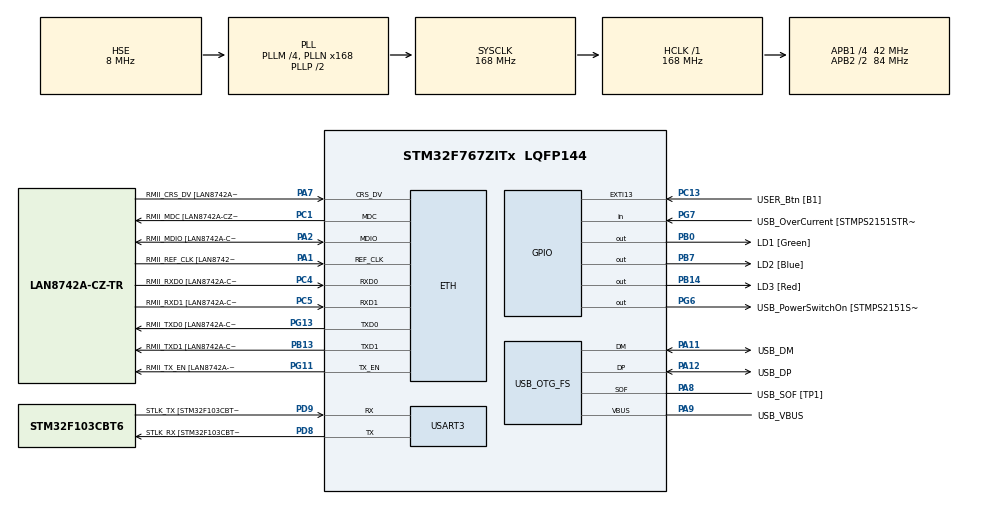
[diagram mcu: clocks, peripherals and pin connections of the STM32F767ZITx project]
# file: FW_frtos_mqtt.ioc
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Mcu.Family=STM32F7
VP_SYS_VS_tim6.Mode=TIM6
RCC.CortexFreq_Value=168000000
PG6.Signal=GPIO_Output
NVIC.TIM6_DAC_IRQn=true\:0\:0\:false\:false\:true\:false\:false\:true
PB14.GPIO_Label=LD3 [Red]
PA14.GPIO_Label=TCK
PG6.GPIO_Label=USB_PowerSwitchOn [STMPS2151STR_EN]
RCC.SYSCLKSourceVirtual=RCC_SYSCLKSOURCE_PLLCLK
PA11.Mode=Device_Only
PB0.GPIO_Label=LD1 [Green]
PC14/OSC32_IN.Mode=LSE-External-Oscillator
PC5.Mode=RMII
PC13.GPIO_Label=USER_Btn [B1]
PB13.GPIO_Label=RMII_TXD1 [LAN8742A-CZ-TR_TXD1]
PB13.Signal=ETH_TXD1
PG13.Signal=ETH_TXD0
PD9.Mode=Asynchronous
PG11.Signal=ETH_TX_EN
RCC.SYSCLKSource=RCC_SYSCLKSOURCE_PLLCLK
ProjectManager.StackSize=0x400
USART3.VirtualMode-Asynchronous=VM_ASYNC
FREERTOS.configENABLE_FPU=1
PA12.Signal=USB_OTG_FS_DP
ETH.PHY_Value=0
PH0/OSC_IN.Mode=HSE-External-Clock-Source
RCC.HCLKFreq_Value=168000000
RCC.APB2TimFreq_Value=168000000
PH1/OSC_OUT.Signal=RCC_OSC_OUT
PD8.Signal=USART3_TX
FREERTOS.configMINIMAL_STACK_SIZE=512
RCC.AHBFreq_Value=168000000
NVIC.ETH_IRQn=true\:5\:0\:false\:false\:true\:true\:false\:true
RCC.HSE_VALUE=8000000
PB3.Mode=Trace_Asynchronous_SW
RCC.PLLMUL=RCC_PLL_MUL9
PC4.GPIO_Label=RMII_RXD0 [LAN8742A-CZ-TR_RXD0]
PA14.Mode=Trace_Asynchronous_SW
PA10.GPIO_Label=USB_ID
LWIP.LWIP_SO_RCVBUF=1
PB7.Signal=GPIO_Output
PA8.Signal=USB_OTG_FS_SOF
PG13.Mode=RMII
ETH.PHY_Name=LAN8742A_PHY_ADDRESS
VP_FREERTOS_VS_CMSIS_V1.Mode=CMSIS_V1
PH1/OSC_OUT.Mode=HSE-External-Clock-Source
FREERTOS.configTOTAL_HEAP_SIZE=32768
PB7.GPIO_Label=LD2 [Blue]
Mcu.Package=LQFP144
NVIC.TimeBase=TIM6_DAC_IRQn
PC14/OSC32_IN.Signal=RCC_OSC32_IN
PA2.GPIO_Label=RMII_MDIO [LAN8742A-CZ-TR_MDIO]
NVIC.TimeBaseIP=TIM6
PA10.Signal=USB_OTG_FS_ID
USB_OTG_FS.VirtualMode=Device_Only
RCC.APB2CLKDivider=RCC_HCLK_DIV2
RCC.APB1TimFreq_Value=84000000
PG11.GPIO_Label=RMII_TX_EN [LAN8742A-CZ-TR_TXEN]
PC5.Signal=ETH_RXD1
PB13.Mode=RMII
PC4.Mode=RMII
PB3.GPIO_Label=SWO
FREERTOS.Tasks01=defaultTask,0,512,StartDefaultTask,Default,NULL,Dynamic,NULL,NULL
PA7.Mode=RMII
PG7.Signal=GPIO_Input
PD9.GPIO_Label=STLK_TX [STM32F103CBT6_PA2]
PC13.Signal=GPXTI13
PA9.GPIO_Label=USB_VBUS
FREERTOS.configCHECK_FOR_STACK_OVERFLOW=2
PC4.Signal=ETH_RXD0
PA11.GPIO_Label=USB_DM
PD9.Signal=USART3_RX
RCC.APB1CLKDivider=RCC_HCLK_DIV4
PG13.GPIO_Label=RMII_TXD0 [LAN8742A-CZ-TR_TXD0]
ETH.PhyAddress=0
PA12.GPIO_Label=USB_DP
VP_LWIP_VS_Enabled.Mode=Enabled
PD8.GPIO_Label=STLK_RX [STM32F103CBT6_PA3]
PA13.Signal=SYS_JTMS-SWDIO
PA9.Mode=Activate_VBUS
PA8.GPIO_Label=USB_SOF [TP1]
ProjectManager.TargetToolchain=STM32CubeIDE
PA9.Signal=USB_OTG_FS_VBUS
RCC.USBFreq_Value=48000000
PD8.Mode=Asynchronous
PA1.Signal=ETH_REF_CLK
PB14.Signal=GPIO_Output
board=NUCLEO-F767ZI
RCC.VCOOutputFreq_Value=336000000
PH0/OSC_IN.Signal=RCC_OSC_IN
RCC.APB2Freq_Value=84000000
PA1.Mode=RMII
RCC.PRESCALERUSB=RCC_USBCLKSOURCE_PLL_DIV1_5
PG7.GPIO_Label=USB_OverCurrent [STMPS2151STR_FAULT]
PA1.GPIO_Label=RMII_REF_CLK [LAN8742A-CZ-TR_REFCLK0]
PC1.GPIO_Label=RMII_MDC [LAN8742A-CZ-TR_MDC]
PA13.Mode=Trace_Asynchronous_SW
Mcu.Name=STM32F767ZITx
PA2.Signal=ETH_MDIO
PA13.GPIO_Label=TMS
RCC.48MHZClocksFreq_Value=24000000
PB3.Signal=SYS_JTDO-SWO
RCC.SYSCLKFreq_VALUE=168000000
ETH.MediaInterface=ETH_MEDIA_INTERFACE_RMII
PA7.GPIO_Label=RMII_CRS_DV [LAN8742A-CZ-TR_CRS_DV]
PA12.Mode=Device_Only
PC5.GPIO_Label=RMII_RXD1 [LAN8742A-CZ-TR_RXD1]
PC15/OSC32_OUT.Mode=LSE-External-Oscillator
PG11.Mode=RMII
PA11.Signal=USB_OTG_FS_DM
PA14.Signal=SYS_JTCK-SWCLK
ProjectManager.HeapSize=0x200
LWIP.Version=v2.1.2_Cube
RCC.HSI_VALUE=16000000
PH0/OSC_IN.GPIO_Label=MCO [STM32F103CBT6_PA8]
RCC.PLLQ=7
NVIC.PriorityGroup=NVIC_PRIORITYGROUP_4
RCC.PLLM=4
RCC.PLLN=168
PA2.Mode=RMII
PC15/OSC32_OUT.Signal=RCC_OSC32_OUT
PA8.Mode=Activate_SOF_FS
RCC.APB1Freq_Value=42000000
PB0.Signal=GPIO_Output
PC1.Signal=ETH_MDC
PC1.Mode=RMII
PA7.Signal=ETH_CRS_DV

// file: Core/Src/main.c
/* USER CODE BEGIN Header */
/**
  ******************************************************************************
  * @file           : main.c
  * @brief          : Main program body
  ******************************************************************************
  * @attention
  *
  * <h2><center>&copy; Copyright (c) 2021 STMicroelectronics.
  * All rights reserved.</center></h2>
  *
  * This software component is licensed by ST under BSD 3-Clause license,
  * the "License"; You may not use this file except in compliance with the
  * License. You may obtain a copy of the License at:
  *                        opensource.org/licenses/BSD-3-Clause
  *
  ******************************************************************************
  */
/* USER CODE END Header */
#include "main.h"
#include "cmsis_os.h"
#include "lwip.h"
#include "usart.h"
#include "usb_otg.h"
#include "gpio.h"

/* USER CODE BEGIN PV */
extern uint32_t MilliTimer;
/* USER CODE END PV */

void SystemClock_Config(void);
void MX_FREERTOS_Init(void);

/* USER CODE BEGIN 0 */
int _write(int file, char *ptr, int len)
{
  int DataIdx;

  for (DataIdx = 0; DataIdx < len; DataIdx++)
  {
    ITM_SendChar(*ptr++);
  }
  return len;
}

/* USER CODE END 0 */

int main(void)
{

  /* MCU Configuration--------------------------------------------------------*/

  /* Reset of all peripherals, Initializes the Flash interface and the Systick. */
  HAL_Init();

  /* Configure the system clock */
  SystemClock_Config();

  /* Initialize all configured peripherals */
  MX_GPIO_Init();
  MX_USART3_UART_Init();
  MX_USB_OTG_FS_PCD_Init();
  /* USER CODE BEGIN 2 */
  printf("Don't remove this printf to prevent hard fault.\r\n");

  /* USER CODE END 2 */

  /* Call init function for freertos objects (in freertos.c) */
  MX_FREERTOS_Init();
  /* Start scheduler */
  osKernelStart();

  /* We should never get here as control is now taken by the scheduler */
  /* Infinite loop */
  while (1)
  {

  }
}

void SystemClock_Config(void)
{
  RCC_OscInitTypeDef RCC_OscInitStruct = {0};
  RCC_ClkInitTypeDef RCC_ClkInitStruct = {0};
  RCC_PeriphCLKInitTypeDef PeriphClkInitStruct = {0};

  /** Configure LSE Drive Capability
  */
  HAL_PWR_EnableBkUpAccess();
  /** Configure the main internal regulator output voltage
  */
  __HAL_RCC_PWR_CLK_ENABLE();
  __HAL_PWR_VOLTAGESCALING_CONFIG(PWR_REGULATOR_VOLTAGE_SCALE2);
  /** Initializes the RCC Oscillators according to the specified parameters
  * in the RCC_OscInitTypeDef structure.
  */
  RCC_OscInitStruct.OscillatorType = RCC_OSCILLATORTYPE_HSE;
  RCC_OscInitStruct.HSEState = RCC_HSE_BYPASS;
  RCC_OscInitStruct.PLL.PLLState = RCC_PLL_ON;
  RCC_OscInitStruct.PLL.PLLSource = RCC_PLLSOURCE_HSE;
  RCC_OscInitStruct.PLL.PLLM = 4;
  RCC_OscInitStruct.PLL.PLLN = 168;
  RCC_OscInitStruct.PLL.PLLP = RCC_PLLP_DIV2;
  RCC_OscInitStruct.PLL.PLLQ = 7;
  if (HAL_RCC_OscConfig(&RCC_OscInitStruct) != HAL_OK)
  {
    Error_Handler();
  }
  /** Initializes the CPU, AHB and APB buses clocks
  */
  RCC_ClkInitStruct.ClockType = RCC_CLOCKTYPE_HCLK|RCC_CLOCKTYPE_SYSCLK
                              |RCC_CLOCKTYPE_PCLK1|RCC_CLOCKTYPE_PCLK2;
  RCC_ClkInitStruct.SYSCLKSource = RCC_SYSCLKSOURCE_PLLCLK;
  RCC_ClkInitStruct.AHBCLKDivider = RCC_SYSCLK_DIV1;
  RCC_ClkInitStruct.APB1CLKDivider = RCC_HCLK_DIV4;
  RCC_ClkInitStruct.APB2CLKDivider = RCC_HCLK_DIV2;

  if (HAL_RCC_ClockConfig(&RCC_ClkInitStruct, FLASH_LATENCY_5) != HAL_OK)
  {
    Error_Handler();
  }
  PeriphClkInitStruct.PeriphClockSelection = RCC_PERIPHCLK_USART3|RCC_PERIPHCLK_CLK48;
  PeriphClkInitStruct.Usart3ClockSelection = RCC_USART3CLKSOURCE_PCLK1;
  PeriphClkInitStruct.Clk48ClockSelection = RCC_CLK48SOURCE_PLL;
  if (HAL_RCCEx_PeriphCLKConfig(&PeriphClkInitStruct) != HAL_OK)
  {
    Error_Handler();
  }
}

 /**
  * @brief  Period elapsed callback in non blocking mode
  * @note   This function is called  when TIM6 interrupt took place, inside
  * HAL_TIM_IRQHandler(). It makes a direct call to HAL_IncTick() to increment
  * a global variable "uwTick" used as application time base.
  * @param  htim : TIM handle
  * @retval None
  */
void HAL_TIM_PeriodElapsedCallback(TIM_HandleTypeDef *htim)
{
  if (htim->Instance == TIM6) {
    HAL_IncTick();
  }
  /* USER CODE BEGIN Callback 1 */
  if (htim->Instance == TIM6) {
      MilliTimer++;
    }

  /* USER CODE END Callback 1 */
}

void Error_Handler(void)
{
  __disable_irq();
  while (1)
  {
  }
}

/************************ (C) COPYRIGHT STMicroelectronics *****END OF FILE****/

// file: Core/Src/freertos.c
/* USER CODE BEGIN Header */
/**
  ******************************************************************************
  * File Name          : freertos.c
  * Description        : Code for freertos applications
  ******************************************************************************
  * @attention
  *
  * <h2><center>&copy; Copyright (c) 2021 STMicroelectronics.
  * All rights reserved.</center></h2>
  *
  * This software component is licensed by ST under Ultimate Liberty license
  * SLA0044, the "License"; You may not use this file except in compliance with
  * the License. You may obtain a copy of the License at:
  *                             www.st.com/SLA0044
  *
  ******************************************************************************
  */
/* USER CODE END Header */

#include "FreeRTOS.h"
#include "task.h"
#include "main.h"
#include "cmsis_os.h"

/* USER CODE BEGIN Includes */
#include <string.h>
#include "lwip.h"
#include "lwip/api.h"
#include "MQTTClient.h"
#include "MQTTInterface.h"

/* USER CODE END Includes */

/* USER CODE BEGIN PD */
#define BROKER_IP		"192.168.1.38"
#define MQTT_PORT		1883
#define MQTT_BUFSIZE	1024

/* USER CODE END PD */

/* USER CODE BEGIN Variables */
extern struct netif gnetif; //extern gnetif

osThreadId mqttClientSubTaskHandle;  //mqtt client task handle
osThreadId mqttClientPubTaskHandle;  //mqtt client task handle

Network net; //mqtt network
MQTTClient mqttClient; //mqtt client

uint8_t sndBuffer[MQTT_BUFSIZE]; //mqtt send buffer
uint8_t rcvBuffer[MQTT_BUFSIZE]; //mqtt receive buffer
uint8_t msgBuffer[MQTT_BUFSIZE]; //mqtt message buffer

/* USER CODE END Variables */
osThreadId defaultTaskHandle;

/* USER CODE BEGIN FunctionPrototypes */
void MqttClientSubTask(void const *argument); //mqtt client subscribe task function
void MqttClientPubTask(void const *argument); //mqtt client publish task function
int  MqttConnectBroker(void); 				//mqtt broker connect function
void MqttMessageArrived(MessageData* msg); //mqtt message callback function

/* USER CODE END FunctionPrototypes */

void StartDefaultTask(void const * argument);

extern void MX_LWIP_Init(void);
void MX_FREERTOS_Init(void); /* (MISRA C 2004 rule 8.1) */

/* GetIdleTaskMemory prototype (linked to static allocation support) */
void vApplicationGetIdleTaskMemory( StaticTask_t **ppxIdleTaskTCBBuffer, StackType_t **ppxIdleTaskStackBuffer, uint32_t *pulIdleTaskStackSize );

/* Hook prototypes */
void vApplicationStackOverflowHook(xTaskHandle xTask, signed char *pcTaskName);

/* USER CODE BEGIN 4 */
__weak void vApplicationStackOverflowHook(xTaskHandle xTask, signed char *pcTaskName)
{
   /* Run time stack overflow checking is performed if
   configCHECK_FOR_STACK_OVERFLOW is defined to 1 or 2. This hook function is
   called if a stack overflow is detected. */
	//HAL_GPIO_WritePin(LED_RED_GPIO_Port, LED_RED_Pin, GPIO_PIN_SET);

}
/* USER CODE END 4 */

/* USER CODE BEGIN GET_IDLE_TASK_MEMORY */
static StaticTask_t xIdleTaskTCBBuffer;
static StackType_t xIdleStack[configMINIMAL_STACK_SIZE];

void vApplicationGetIdleTaskMemory( StaticTask_t **ppxIdleTaskTCBBuffer, StackType_t **ppxIdleTaskStackBuffer, uint32_t *pulIdleTaskStackSize )
{
  *ppxIdleTaskTCBBuffer = &xIdleTaskTCBBuffer;
  *ppxIdleTaskStackBuffer = &xIdleStack[0];
  *pulIdleTaskStackSize = configMINIMAL_STACK_SIZE;
  /* place for user code */
}
/* USER CODE END GET_IDLE_TASK_MEMORY */

void MX_FREERTOS_Init(void) {

  /* Create the thread(s) */
  /* definition and creation of defaultTask */
  osThreadDef(defaultTask, StartDefaultTask, osPriorityNormal, 0, 512);
  defaultTaskHandle = osThreadCreate(osThread(defaultTask), NULL);

}

void StartDefaultTask(void const * argument)
{
  /* init code for LWIP */
  MX_LWIP_Init();
  /* USER CODE BEGIN StartDefaultTask */
  /* Infinite loop */
  	osThreadDef(mqttClientSubTask, MqttClientSubTask, osPriorityNormal, 0, configMINIMAL_STACK_SIZE); //subscribe task
  	osThreadDef(mqttClientPubTask, MqttClientPubTask, osPriorityNormal, 0, configMINIMAL_STACK_SIZE); //publish task
  	mqttClientSubTaskHandle = osThreadCreate(osThread(mqttClientSubTask), NULL);
  	mqttClientPubTaskHandle = osThreadCreate(osThread(mqttClientPubTask), NULL);

  	/* Infinite loop */
  	for(;;)
  	{
  		HAL_GPIO_TogglePin(GPIOB, LD1_Pin); //toggle_led
  		osDelay(500);
  	}

  /* USER CODE END StartDefaultTask */
}

/* USER CODE BEGIN Application */
void MqttClientSubTask(void const *argument)
{
	while(1)
	{
		//waiting for valid ip address
		if (gnetif.ip_addr.addr == 0 || gnetif.netmask.addr == 0 || gnetif.gw.addr == 0) //system has no valid ip address
		{
			osDelay(1000);
			continue;
		}
		else
		{
			printf("DHCP/Static IP O.K.\n");
			break;
		}
	}

	while(1)
	{
		if(!mqttClient.isconnected)
		{
			HAL_GPIO_TogglePin(GPIOB, LD2_Pin);

			//try to connect to the broker
			MQTTDisconnect(&mqttClient);
			MqttConnectBroker();
			osDelay(1000);
		}
		else
		{
			MQTTYield(&mqttClient, 1000); //handle timer
			osDelay(100);
		}
	}
}

void MqttClientPubTask(void const *argument)
{
	const char* str = "MQTT message from STM32";
	MQTTMessage message;

	while(1)
	{
		if(mqttClient.isconnected)
		{
			message.payload = (void*)str;
			message.payloadlen = strlen(str);

			MQTTPublish(&mqttClient, "test", &message); //publish a message
		}
		HAL_GPIO_TogglePin(GPIOB, LD3_Pin);
		osDelay(1000);
	}
}

int MqttConnectBroker()
{
	int ret;

	NewNetwork(&net);
	ret = ConnectNetwork(&net, BROKER_IP, MQTT_PORT);
	if(ret != MQTT_SUCCESS)
	{
		printf("ConnectNetwork failed.\n");
		return -1;
	}

	MQTTClientInit(&mqttClient, &net, 1000, sndBuffer, sizeof(sndBuffer), rcvBuffer, sizeof(rcvBuffer));

	MQTTPacket_connectData data = MQTTPacket_connectData_initializer;
	data.willFlag = 0;
	data.MQTTVersion = 3;
	data.clientID.cstring = "STM32F7";
	data.username.cstring = "STM32F7";
	data.password.cstring = "";
	data.keepAliveInterval = 60;
	data.cleansession = 1;

	ret = MQTTConnect(&mqttClient, &data);
	if(ret != MQTT_SUCCESS)
	{
		printf("MQTTConnect failed.\n");
		return ret;
	}

	ret = MQTTSubscribe(&mqttClient, "/status/get", QOS0, MqttMessageArrived);
	if(ret != MQTT_SUCCESS)
	{
		printf("MQTTSubscribe failed.\n");
		return ret;
	}

	printf("MQTT_ConnectBroker O.K.\n");
	return MQTT_SUCCESS;
}

void MqttMessageArrived(MessageData* msg)
{
	//HAL_GPIO_TogglePin(LED_BLUE_GPIO_Port, LED_BLUE_Pin); //toggle pin when new message arrived
 	MQTTMessage* message = msg->message;
	memset(msgBuffer, 0, sizeof(msgBuffer));
	memcpy(msgBuffer, message->payload,message->payloadlen);

	printf("MQTT MSG[%d]:%s\n", (int)message->payloadlen, msgBuffer);
}
 /* USER CODE END Application */

/************************ (C) COPYRIGHT STMicroelectronics *****END OF FILE****/
